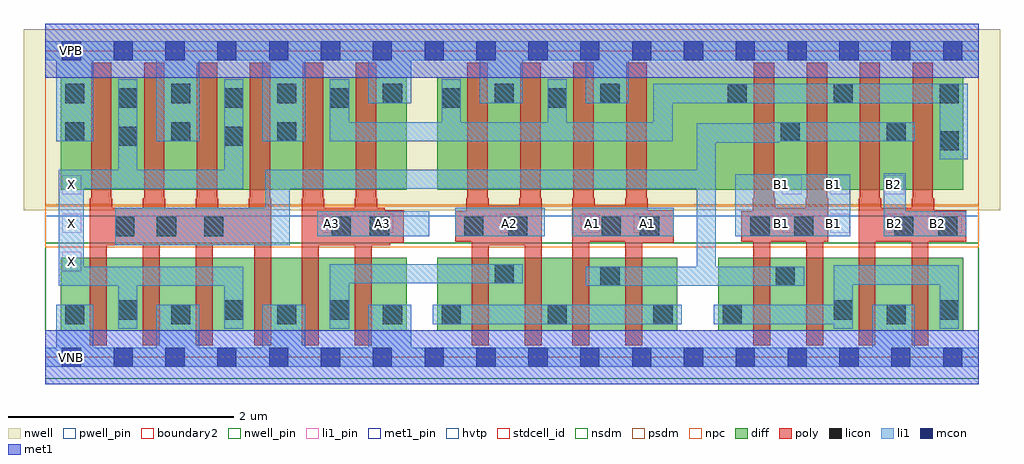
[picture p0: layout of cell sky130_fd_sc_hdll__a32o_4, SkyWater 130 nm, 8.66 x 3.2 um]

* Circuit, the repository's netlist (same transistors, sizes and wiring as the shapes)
* Copyright 2020 The SkyWater PDK Authors
*
* Licensed under the Apache License, Version 2.0 (the "License");
* you may not use this file except in compliance with the License.
* You may obtain a copy of the License at
*
*     https://www.apache.org/licenses/LICENSE-2.0
*
* Unless required by applicable law or agreed to in writing, software
* distributed under the License is distributed on an "AS IS" BASIS,
* WITHOUT WARRANTIES OR CONDITIONS OF ANY KIND, either express or implied.
* See the License for the specific language governing permissions and
* limitations under the License.
*
* SPDX-License-Identifier: Apache-2.0

.SUBCKT sky130_fd_sc_hdll__a32o_4 A1 A2 A3 B1 B2 VGND VNB VPB VPWR X
*.PININFO A1:I A2:I A3:I B1:I B2:I VGND:I VNB:I VPB:I VPWR:I X:O
MMPA0 pndA A1 VPWR VPB sky130_fd_pr__pfet_01v8_hvt m=2 w=1.0U l=0.18U mult=1 sa=0.265
+ sb=0.265 sd=0.28 area=0.063 perim=1.14
MMPA1 pndA A2 VPWR VPB sky130_fd_pr__pfet_01v8_hvt m=2 w=1.0U l=0.18U mult=1 sa=0.265
+ sb=0.265 sd=0.28 area=0.063 perim=1.14
MMPA2 pndA A3 VPWR VPB sky130_fd_pr__pfet_01v8_hvt m=2 w=1.0U l=0.18U mult=1 sa=0.265
+ sb=0.265 sd=0.28 area=0.063 perim=1.14
MMPB0 net73 B1 pndA VPB sky130_fd_pr__pfet_01v8_hvt m=2 w=1.0U l=0.18U mult=1 sa=0.265
+ sb=0.265 sd=0.28 area=0.063 perim=1.14
MMPB1 net73 B2 pndA VPB sky130_fd_pr__pfet_01v8_hvt m=2 w=1.0U l=0.18U mult=1 sa=0.265
+ sb=0.265 sd=0.28 area=0.063 perim=1.14
MMIPX X net73 VPWR VPB sky130_fd_pr__pfet_01v8_hvt m=4 w=1.0U l=0.18U mult=1 sa=0.265
+ sb=0.265 sd=0.28 area=0.063 perim=1.14
MMNA0 net73 A1 sndA1 VNB sky130_fd_pr__nfet_01v8 m=2 w=0.65U l=0.15U mult=1 sa=0.265
+ sb=0.265 sd=0.28 area=0.063 perim=1.14
MMNA1 sndA1 A2 sndA2 VNB sky130_fd_pr__nfet_01v8 m=2 w=0.65U l=0.15U mult=1 sa=0.265
+ sb=0.265 sd=0.28 area=0.063 perim=1.14
MMNA2 sndA2 A3 VGND VNB sky130_fd_pr__nfet_01v8 m=2 w=0.65U l=0.15U mult=1 sa=0.265
+ sb=0.265 sd=0.28 area=0.063 perim=1.14
MMNB0 net73 B1 sndB1 VNB sky130_fd_pr__nfet_01v8 m=2 w=0.65U l=0.15U mult=1 sa=0.265
+ sb=0.265 sd=0.28 area=0.063 perim=1.14
MMNB1 sndB1 B2 VGND VNB sky130_fd_pr__nfet_01v8 m=2 w=0.65U l=0.15U mult=1 sa=0.265
+ sb=0.265 sd=0.28 area=0.063 perim=1.14
MMINX X net73 VGND VNB sky130_fd_pr__nfet_01v8 m=4 w=0.65U l=0.15U mult=1 sa=0.265
+ sb=0.265 sd=0.28 area=0.063 perim=1.14
.ENDS sky130_fd_sc_hdll__a32o_4

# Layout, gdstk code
import gdstk
lib = gdstk.Library(unit=1e-6, precision=1e-09)
def R(c, l, rs):  # rectangles x0, y0, x1, y1
    for r in rs: c.add(gdstk.rectangle(r[:2], r[2:], *l))
def A(c, l, x, y, w, h, nx, ny, dx, dy):  # array of equal rectangles
    R(c, l, [(x+i*dx, y+j*dy, x+i*dx+w, y+j*dy+h) for i in range(nx) for j in range(ny)])
def P(c, l, *ps):  # polygons
    for p in ps: c.add(gdstk.Polygon(p, *l))
nwell_pin = (64, 16)
nwell = (64, 20)
diff = (65, 20)
poly = (66, 20)
licon = (66, 44)
li1_pin = (67, 16)
li1 = (67, 20)
mcon = (67, 44)
met1_pin = (68, 16)
met1 = (68, 20)
hvtp = (78, 44)
stdcell_id = (81, 4)
nsdm = (93, 44)
psdm = (94, 20)
npc = (95, 20)
pwell_pin = (122, 16)
boundary2 = (236, 0)

sky130_fd_sc_hdll__a32o_ = lib.new_cell('sky130_fd_sc_hdll__a32o_4')
R(sky130_fd_sc_hdll__a32o_, nwell_pin, [(0.15,2.635,0.32,2.805)])
R(sky130_fd_sc_hdll__a32o_, nwell, [(-0.19,1.305,8.47,2.91)])
R(sky130_fd_sc_hdll__a32o_, diff, [(0.135,0.235,3.205,0.885), (3.475,0.235,5.605,0.885), (5.97,0.235,8.145,0.885), (0.135,1.485,3.205,2.485), (3.475,1.485,8.145,2.485)])
P(sky130_fd_sc_hdll__a32o_, poly, [(2.005,1.41),(1.995,1.41),(1.995,2.615),(1.815,2.615),(1.815,1.41),(1.805,1.41),(1.805,1.325),(1.535,1.325),(1.535,1.41),(1.525,1.41),(1.525,2.615),(1.345,2.615),(1.345,1.41),(1.335,1.41),(1.335,1.325),(1.065,1.325),(1.065,1.41),(1.055,1.41),(1.055,2.615),(0.875,2.615),(0.875,1.41),(0.865,1.41),(0.865,1.325),(0.595,1.325),(0.595,1.41),(0.585,1.41),(0.585,2.615),(0.405,2.615),(0.405,1.41),(0.395,1.41),(0.395,0.105),(0.545,0.105),(0.545,0.995),(0.865,0.995),(0.865,0.105),(1.015,0.105),(1.015,0.995),(1.335,0.995),(1.335,0.105),(1.485,0.105),(1.485,0.995),(1.855,0.995),(1.855,0.105),(2.005,0.105)],
  [(3.18,1.305),(3.01,1.305),(3.01,1.325),(2.945,1.325),(2.945,1.41),(2.935,1.41),(2.935,2.615),(2.755,2.615),(2.755,1.41),(2.745,1.41),(2.745,1.325),(2.475,1.325),(2.475,1.41),(2.465,1.41),(2.465,2.615),(2.285,2.615),(2.285,1.41),(2.275,1.41),(2.275,0.105),(2.425,0.105),(2.425,0.995),(2.745,0.995),(2.745,0.105),(2.895,0.105),(2.895,0.995),(3.06,0.995),(3.06,1.015),(3.18,1.015)],
  [(4.405,1.41),(4.395,1.41),(4.395,2.615),(4.215,2.615),(4.215,1.41),(4.205,1.41),(4.205,1.345),(3.935,1.345),(3.935,1.41),(3.925,1.41),(3.925,2.615),(3.745,2.615),(3.745,1.41),(3.735,1.41),(3.735,1.295),(3.635,1.295),(3.635,1.025),(3.785,1.025),(3.785,0.105),(3.935,0.105),(3.935,0.995),(4.255,0.995),(4.255,0.105),(4.405,0.105)],
  [(5.575,1.305),(5.345,1.305),(5.345,1.41),(5.335,1.41),(5.335,2.615),(5.155,2.615),(5.155,1.41),(5.145,1.41),(5.145,1.345),(4.875,1.345),(4.875,1.41),(4.865,1.41),(4.865,2.615),(4.685,2.615),(4.685,1.41),(4.675,1.41),(4.675,0.105),(4.825,0.105),(4.825,1.025),(5.145,1.025),(5.145,0.105),(5.295,0.105),(5.295,1.015),(5.575,1.015)],
  [(6.945,1.41),(6.935,1.41),(6.935,2.615),(6.755,2.615),(6.755,1.41),(6.745,1.41),(6.745,1.325),(6.475,1.325),(6.475,1.41),(6.465,1.41),(6.465,2.615),(6.285,2.615),(6.285,1.41),(6.275,1.41),(6.275,1.295),(6.175,1.295),(6.175,1.025),(6.28,1.025),(6.28,0.105),(6.43,0.105),(6.43,1.025),(6.75,1.025),(6.75,0.105),(6.9,0.105),(6.9,1.025),(6.945,1.025)],
  [(8.17,1.305),(7.885,1.305),(7.885,1.41),(7.875,1.41),(7.875,2.615),(7.695,2.615),(7.695,1.41),(7.685,1.41),(7.685,1.325),(7.415,1.325),(7.415,1.41),(7.405,1.41),(7.405,2.615),(7.225,2.615),(7.225,1.41),(7.215,1.41),(7.215,0.105),(7.365,0.105),(7.365,1.025),(7.685,1.025),(7.685,0.105),(7.835,0.105),(7.835,1.025),(8.17,1.025)])
A(sky130_fd_sc_hdll__a32o_, licon, 0.175, 0.295, 0.17, 0.17, 4, 2, 0.94, 1.96)
A(sky130_fd_sc_hdll__a32o_, licon, 3.515, 0.295, 0.17, 0.17, 3, 1, 0.94, 0)
A(sky130_fd_sc_hdll__a32o_, licon, 0.645, 0.335, 0.17, 0.17, 3, 2, 0.94, 1.88)
A(sky130_fd_sc_hdll__a32o_, licon, 0.175, 1.915, 0.17, 0.17, 3, 1, 0.94, 0)
A(sky130_fd_sc_hdll__a32o_, licon, 6.055, 2.255, 0.17, 0.17, 3, 1, 0.94, 0)
R(sky130_fd_sc_hdll__a32o_, licon, [(6.01,0.295,6.18,0.465), (7.465,0.295,7.635,0.465), (6.995,0.335,7.165,0.505), (7.935,0.335,8.105,0.505), (4.925,0.635,5.095,0.805), (6.48,0.635,6.65,0.805), (3.985,0.655,4.155,0.825), (0.62,1.075,0.79,1.245), (0.99,1.075,1.16,1.245), (1.41,1.075,1.58,1.245), (2.54,1.075,2.71,1.245), (2.88,1.075,3.05,1.245), (3.715,1.075,3.885,1.245), (4.105,1.075,4.275,1.245), (4.935,1.075,5.105,1.245), (5.275,1.075,5.445,1.245), (6.255,1.075,6.425,1.245), (6.645,1.075,6.815,1.245), (7.53,1.075,7.7,1.245), (7.92,1.075,8.09,1.245), (7.935,1.835,8.105,2.005), (0.645,1.875,0.815,2.045), (1.585,1.875,1.755,2.045), (6.525,1.915,6.695,2.085), (7.465,1.915,7.635,2.085), (3.515,2.215,3.685,2.385), (4.455,2.215,4.625,2.385), (3.985,2.255,4.155,2.425), (4.925,2.255,5.095,2.425)])
A(sky130_fd_sc_hdll__a32o_, li1_pin, 0.15, 0.765, 0.17, 0.17, 1, 3, 0, 0.34)
R(sky130_fd_sc_hdll__a32o_, li1_pin, [(2.455,1.105,2.625,1.275), (2.915,1.105,3.085,1.275), (4.035,1.105,4.205,1.275), (4.75,1.105,4.92,1.275), (5.22,1.105,5.39,1.275), (6.54,1.105,6.71,1.275), (6.965,1.105,7.135,1.275), (7.45,1.105,7.62,1.275), (7.96,1.105,8.13,1.275), (6.54,1.445,6.71,1.615), (6.965,1.445,7.135,1.615), (7.45,1.445,7.62,1.615)])
R(sky130_fd_sc_hdll__a32o_, li1, [(3.435,0.295,5.645,0.465), (2.41,1.075,3.405,1.295), (3.635,1.075,4.43,1.325), (4.68,1.075,5.575,1.325), (6.12,1.075,7.14,1.625)])
P(sky130_fd_sc_hdll__a32o_, li1, [(8.28,0.085),(7.715,0.085),(7.715,0.465),(7.335,0.465),(7.335,0.085),(3.245,0.085),(3.245,0.465),(2.865,0.465),(2.865,0.085),(2.305,0.085),(2.305,0.465),(1.925,0.465),(1.925,0.085),(1.365,0.085),(1.365,0.465),(0.985,0.465),(0.985,0.085),(0.425,0.085),(0.425,0.465),(0.095,0.465),(0.095,0.085),(0,0.085),(0,-0.085),(8.28,-0.085)],
  [(8.28,2.805),(0,2.805),(0,2.635),(0.095,2.635),(0.095,1.915),(0.425,1.915),(0.425,2.635),(0.985,2.635),(0.985,1.915),(1.365,1.915),(1.365,2.635),(1.925,2.635),(1.925,1.915),(2.305,1.915),(2.305,2.635),(2.865,2.635),(2.865,2.255),(3.245,2.255),(3.245,2.635),(3.855,2.635),(3.855,2.255),(4.235,2.255),(4.235,2.635),(4.795,2.635),(4.795,2.255),(5.175,2.255),(5.175,2.635),(8.28,2.635)],
  [(1.755,0.805),(0.34,0.805),(0.34,1.495),(1.755,1.495),(1.755,2.465),(1.585,2.465),(1.585,1.665),(0.815,1.665),(0.815,2.465),(0.645,2.465),(0.645,1.665),(0.12,1.665),(0.12,0.635),(0.645,0.635),(0.645,0.255),(0.815,0.255),(0.815,0.635),(1.585,0.635),(1.585,0.255),(1.755,0.255)],
  [(4.235,0.825),(2.525,0.825),(2.525,0.255),(2.695,0.255),(2.695,0.655),(4.235,0.655)],
  [(7.715,2.085),(6.445,2.085),(6.445,2.075),(5.78,2.075),(5.78,1.665),(1.95,1.665),(1.95,1.325),(0.62,1.325),(0.62,0.995),(2.17,0.995),(2.17,1.495),(5.78,1.495),(5.78,0.805),(4.795,0.805),(4.795,0.635),(6.735,0.635),(6.735,0.805),(5.95,0.805),(5.95,1.905),(6.51,1.905),(6.51,1.915),(7.715,1.915)],
  [(8.105,0.815),(6.995,0.815),(6.995,0.465),(5.93,0.465),(5.93,0.295),(6.995,0.295),(6.995,0.255),(7.165,0.255),(7.165,0.645),(7.935,0.645),(7.935,0.255),(8.105,0.255)],
  [(8.17,1.295),(7.635,1.295),(7.635,1.635),(7.44,1.635),(7.44,1.075),(8.17,1.075)],
  [(8.185,2.425),(5.395,2.425),(5.395,2.085),(4.625,2.085),(4.625,2.465),(4.455,2.465),(4.455,2.085),(3.685,2.085),(3.685,2.465),(3.515,2.465),(3.515,2.085),(2.695,2.085),(2.695,2.465),(2.525,2.465),(2.525,1.915),(5.565,1.915),(5.565,2.255),(7.935,2.255),(7.935,1.755),(8.185,1.755)])
A(sky130_fd_sc_hdll__a32o_, mcon, 0.145, -0.085, 0.17, 0.17, 18, 2, 0.46, 2.72)
R(sky130_fd_sc_hdll__a32o_, met1_pin, [(0.15,-0.085,0.32,0.085), (0.15,2.635,0.32,2.805)])
R(sky130_fd_sc_hdll__a32o_, met1, [(0,-0.24,8.28,0.24), (0,2.48,8.28,2.96)])
R(sky130_fd_sc_hdll__a32o_, hvtp, [(0,1.25,8.28,2.72)])
R(sky130_fd_sc_hdll__a32o_, stdcell_id, [(0,0,8.28,2.72)])
R(sky130_fd_sc_hdll__a32o_, nsdm, [(0,-0.19,8.28,1.015)])
R(sky130_fd_sc_hdll__a32o_, psdm, [(0,1.355,8.28,2.91)])
R(sky130_fd_sc_hdll__a32o_, npc, [(0,0.975,8.28,1.345)])
R(sky130_fd_sc_hdll__a32o_, pwell_pin, [(0.15,-0.085,0.32,0.085)])
R(sky130_fd_sc_hdll__a32o_, boundary2, [(0,0,8.28,2.72)])
sky130_fd_sc_hdll__a32o_.add(gdstk.Label('A3', (2.535,1.19), layer=67, texttype=5))
sky130_fd_sc_hdll__a32o_.add(gdstk.Label('X', (0.235,1.19), layer=67, texttype=5))
sky130_fd_sc_hdll__a32o_.add(gdstk.Label('X', (0.235,1.53), layer=67, texttype=5))
sky130_fd_sc_hdll__a32o_.add(gdstk.Label('X', (0.235,0.85), layer=67, texttype=5))
sky130_fd_sc_hdll__a32o_.add(gdstk.Label('B1', (6.995,1.53), layer=67, texttype=5))
sky130_fd_sc_hdll__a32o_.add(gdstk.Label('B1', (6.995,1.19), layer=67, texttype=5))
sky130_fd_sc_hdll__a32o_.add(gdstk.Label('B2', (7.535,1.19), layer=67, texttype=5))
sky130_fd_sc_hdll__a32o_.add(gdstk.Label('B1', (6.535,1.53), layer=67, texttype=5))
sky130_fd_sc_hdll__a32o_.add(gdstk.Label('A1', (5.345,1.19), layer=67, texttype=5))
sky130_fd_sc_hdll__a32o_.add(gdstk.Label('B1', (6.535,1.19), layer=67, texttype=5))
sky130_fd_sc_hdll__a32o_.add(gdstk.Label('B2', (7.525,1.53), layer=67, texttype=5))
sky130_fd_sc_hdll__a32o_.add(gdstk.Label('B2', (7.915,1.19), layer=67, texttype=5))
sky130_fd_sc_hdll__a32o_.add(gdstk.Label('A2', (4.115,1.19), layer=67, texttype=5))
sky130_fd_sc_hdll__a32o_.add(gdstk.Label('A3', (2.995,1.19), layer=67, texttype=5))
sky130_fd_sc_hdll__a32o_.add(gdstk.Label('A1', (4.855,1.19), layer=67, texttype=5))
sky130_fd_sc_hdll__a32o_.add(gdstk.Label('VNB', (0.235,0), layer=64, texttype=59))
sky130_fd_sc_hdll__a32o_.add(gdstk.Label('VPB', (0.235,2.72), layer=64, texttype=5))
sky130_fd_sc_hdll__a32o_.add(gdstk.Label('VGND', (0.235,0), layer=68, texttype=5))
sky130_fd_sc_hdll__a32o_.add(gdstk.Label('VPWR', (0.235,2.72), layer=68, texttype=5))

lib.write_gds('sky130_fd_sc_hdll__a32o_4.gds')
